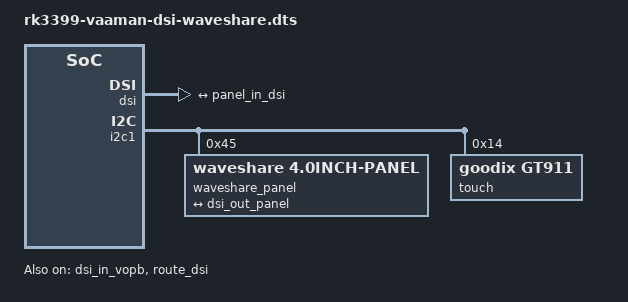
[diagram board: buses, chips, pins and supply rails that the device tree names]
// SPDX-License-Identifier: GPL-2.0+
// Copyright (C) 2023 Vicharak Computers LLP

/dts-v1/;
/plugin/;

#include <dt-bindings/gpio/gpio.h>
#include <dt-bindings/pinctrl/rockchip.h>
#include <dt-bindings/display/drm_mipi_dsi.h>

/ {
	metadata {
		title = "Enable Waveshare 4inch DSI LCD";
		compatible = "vicharak,rk3399-vaaman", "rockchip,rk3399";
		category = "display";
		exclusive = "dsi";
		description = "Enable support for Waveshare 4inch DSI LCD\nWARNING: This will disable HDMI/DP output";
	};

	fragment@0 {
		target = <&dsi>;

		__overlay__ {
			status = "okay";
			#address-cells = <1>;
			#size-cells = <0>;

			ports {
				#address-cells = <1>;
				#size-cells = <0>;

				port@1 {
					reg = <1>;

					dsi_out_panel: endpoint {
						remote-endpoint = <&panel_in_dsi>;
					};
				};
			};
		};
	};

	fragment@1 {
		target = <&i2c1>;

		__overlay__ {
			status = "okay";
			#address-cells = <1>;
			#size-cells = <0>;

			waveshare_panel: panel@45 {
				compatible = "waveshare,4.0inch-panel";
				reg = <0x45>;
				status = "okay";

				port {
					panel_in_dsi: endpoint {
						remote-endpoint = <&dsi_out_panel>;
					};
				};
			};

			touch: goodix@14 {
				reg = <0x14>;
				compatible = "goodix,gt911";
				status = "okay";
			};
		};
	};

	fragment@3 {
		target = <&dsi_in_vopl>;

		__overlay__ {
			status = "disabled";
		};
	};

	fragment@4 {
		target = <&dsi_in_vopb>;

		__overlay__ {
			status = "okay";
		};
	};

	fragment@5 {
		target = <&dp_in_vopb>;

		__overlay__ {
			status = "disabled";
		};
	};

	fragment@6 {
		target = <&edp_in_vopb>;

		__overlay__ {
			status = "disabled";
		};
	};

	fragment@7 {
		target = <&hdmi_in_vopb>;

		__overlay__ {
			status = "disabled";
		};
	};

	fragment@8 {
		target = <&route_dsi>;

		__overlay__ {
			status = "okay";
			connect = <&dsi_in_vopb>;
		};
	};

	fragment@9 {
		target = <&route_hdmi>;

		__overlay__ {
			status = "disabled";
		};
	};
};
